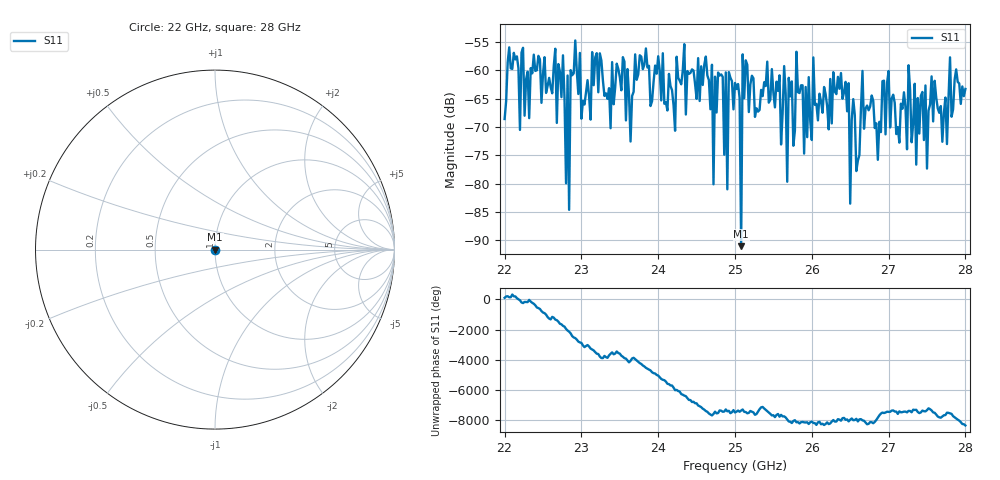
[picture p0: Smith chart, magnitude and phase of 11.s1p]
#  HZ  S  RI  R  50.00
! Rohde & Schwarz ZVA40 4Ports - Version 3.90 - 1145.1110k42 SN: 100403
! Date: 2023-10-04 09:35:31
! Measurement: S12
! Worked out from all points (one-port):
!   301 points, 22 GHz to 28 GHz, reference 50 ohm
!   lowest |S11| = -91.0 dB at 25.08 GHz (marker M1), VSWR 1.00, Z = 50 - j0.00121 ohm
!   |S11| at or under -10 dB: start of sweep to end of sweep
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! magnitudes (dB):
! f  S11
! 22 GHz  -68.6
! 22.76 GHz  -57.3
! 22.8 GHz  -79.9
! 22.82 GHz  -60.9
! 22.84 GHz  -84.6
! 22.92 GHz  -54.7
! 23.5 GHz  -61.2
! 24.26 GHz  -61.3
! 24.7 GHz  -59.0
! 24.72 GHz  -80.1
! 24.74 GHz  -61.1
! 24.88 GHz  -60.3
! 24.9 GHz  -81.0
! 24.92 GHz  -60.3
! 25 GHz  -62.2
! 25.08 GHz  -91.0
! 25.1 GHz  -57.1
! 25.76 GHz  -73.3
! 25.8 GHz  -56.7
! 25.9 GHz  -74.7
! 26.38 GHz  -60.5
! 26.48 GHz  -62.2
! 26.5 GHz  -83.5
! 26.66 GHz  -60.1
! 26.86 GHz  -75.8
! 27.26 GHz  -59.1
! 27.36 GHz  -76.6
! 28 GHz  -63.3
